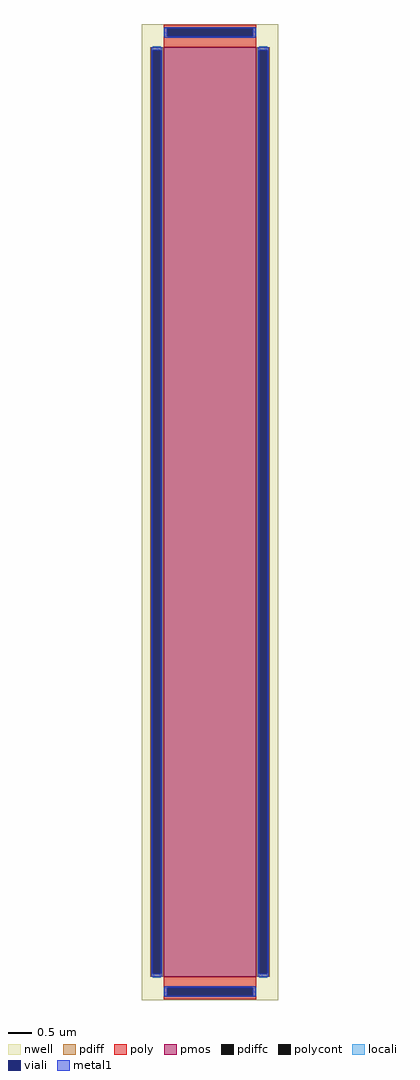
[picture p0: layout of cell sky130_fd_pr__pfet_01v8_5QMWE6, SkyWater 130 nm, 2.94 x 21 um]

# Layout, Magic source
magic
tech sky130A
magscale 1 2
<< nwell >>
rect -294 -2100 294 2100
<< pmos >>
rect -200 -2000 200 2000
<< pdiff >>
rect -258 1988 -200 2000
rect -258 -1988 -246 1988
rect -212 -1988 -200 1988
rect -258 -2000 -200 -1988
rect 200 1988 258 2000
rect 200 -1988 212 1988
rect 246 -1988 258 1988
rect 200 -2000 258 -1988
<< pdiffc >>
rect -246 -1988 -212 1988
rect 212 -1988 246 1988
<< poly >>
rect -200 2081 200 2097
rect -200 2047 -184 2081
rect 184 2047 200 2081
rect -200 2000 200 2047
rect -200 -2047 200 -2000
rect -200 -2081 -184 -2047
rect 184 -2081 200 -2047
rect -200 -2097 200 -2081
<< polycont >>
rect -184 2047 184 2081
rect -184 -2081 184 -2047
<< locali >>
rect -200 2047 -184 2081
rect 184 2047 200 2081
rect -246 1988 -212 2004
rect -246 -2004 -212 -1988
rect 212 1988 246 2004
rect 212 -2004 246 -1988
rect -200 -2081 -184 -2047
rect 184 -2081 200 -2047
<< viali >>
rect -184 2047 184 2081
rect -246 -1988 -212 1988
rect 212 -1988 246 1988
rect -184 -2081 184 -2047
<< metal1 >>
rect -196 2081 196 2087
rect -196 2047 -184 2081
rect 184 2047 196 2081
rect -196 2041 196 2047
rect -252 1988 -206 2000
rect -252 -1988 -246 1988
rect -212 -1988 -206 1988
rect -252 -2000 -206 -1988
rect 206 1988 252 2000
rect 206 -1988 212 1988
rect 246 -1988 252 1988
rect 206 -2000 252 -1988
rect -196 -2047 196 -2041
rect -196 -2081 -184 -2047
rect 184 -2081 196 -2047
rect -196 -2087 196 -2081
<< properties >>
string gencell sky130_fd_pr__pfet_01v8
string library sky130
string parameters w 20.0 l 2.0 m 1 nf 1 diffcov 100 polycov 100 guard 0 glc 1 grc 1 gtc 1 gbc 1 tbcov 100 rlcov 100 topc 1 botc 1 poverlap 0 doverlap 1 lmin 0.15 wmin 0.42 compatible {sky130_fd_pr__pfet_01v8  sky130_fd_pr__pfet_01v8_lvt sky130_fd_pr__pfet_01v8_hvt  sky130_fd_pr__pfet_g5v0d10v5} full_metal 0 viasrc 100 viadrn 100 viagate 100 viagb 0 viagr 0 viagl 0 viagt 0
<< end >>
